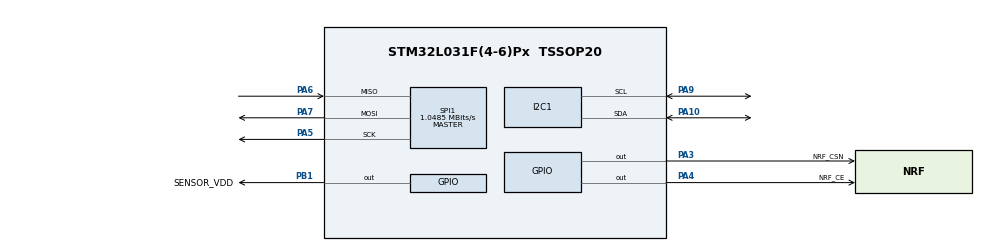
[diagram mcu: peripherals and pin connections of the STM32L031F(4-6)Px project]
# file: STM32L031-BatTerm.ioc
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I2C1.Timing=0x00000608
IWDG.Prescaler=IWDG_PRESCALER_256
Mcu.Family=STM32L0
Mcu.Name=STM32L031F(4-6)Px
Mcu.Package=TSSOP20
NVIC.RTC_IRQn=true\:0\:0\:false\:false\:true\:true\:true\:true
PA10.Mode=I2C
PA10.Signal=I2C1_SDA
PA13.Mode=Serial_Wire
PA13.Signal=SYS_SWDIO
PA14.Mode=Serial_Wire
PA14.Signal=SYS_SWCLK
PA3.GPIO_Label=NRF_CSN
PA3.PinState=GPIO_PIN_SET
PA3.Signal=GPIO_Output
PA4.GPIO_Label=NRF_CE
PA4.PinState=GPIO_PIN_RESET
PA4.Signal=GPIO_Output
PA5.Mode=Full_Duplex_Master
PA5.Signal=SPI1_SCK
PA6.Mode=Full_Duplex_Master
PA6.Signal=SPI1_MISO
PA7.Mode=Full_Duplex_Master
PA7.Signal=SPI1_MOSI
PA9.Mode=I2C
PA9.Signal=I2C1_SCL
PB1.GPIO_Label=SENSOR_VDD
PB1.Signal=GPIO_Output
ProjectManager.HeapSize=0x200
ProjectManager.StackSize=0x400
ProjectManager.TargetToolchain=CMake
RCC.AHBFreq_Value=2097000
RCC.APB1Freq_Value=2097000
RCC.APB1TimFreq_Value=2097000
RCC.APB2Freq_Value=2097000
RCC.APB2TimFreq_Value=2097000
RCC.HSE_VALUE=8000000
RCC.HSI16_VALUE=16000000
RCC.HSI_VALUE=16000000
RCC.I2c1ClockSelection=RCC_I2C1CLKSOURCE_SYSCLK
RCC.LSE_VALUE=32768
RCC.MSI_VALUE=2097000
RCC.SYSCLKFreq_VALUE=2097000
RCC.VCOOutputFreq_Value=48000000
RTC.AsynchPrediv=124
RTC.SynchPrediv=295
RTC.WakeUpClock-WakeUp=RTC_WAKEUPCLOCK_CK_SPRE_16BITS
RTC.WakeUpCounter-WakeUp=599
SPI1.CalculateBaudRate=1.0485 MBits/s
SPI1.Direction=SPI_DIRECTION_2LINES
SPI1.Mode=SPI_MODE_MASTER
SPI1.VirtualType=VM_MASTER
VP_IWDG_VS_IWDG.Mode=IWDG_Activate
VP_RTC_VS_RTC_Activate.Mode=RTC_Enabled
VP_RTC_VS_RTC_Calendar.Mode=RTC_Calendar
VP_RTC_VS_RTC_WakeUp_intern.Mode=WakeUp
board=custom

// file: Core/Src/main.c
/* USER CODE BEGIN Header */
/**
  ******************************************************************************
  * @file           : main.c
  * @brief          : Main program body
  ******************************************************************************
  * @attention
  *
  * Copyright (c) 2026 STMicroelectronics.
  * All rights reserved.
  *
  * This software is licensed under terms that can be found in the LICENSE file
  * in the root directory of this software component.
  * If no LICENSE file comes with this software, it is provided AS-IS.
  *
  ******************************************************************************
  */
/* USER CODE END Header */
#include "main.h"

/* USER CODE BEGIN Includes */
#include "stm32l0xx_ll_pwr.h"
#include "stm32l0xx_ll_exti.h"
#include "stm32l0xx_ll_cortex.h"
#include "SEGGER_RTT.h"
#include "aht20.h"
#include "bmp280.h"
#include "nrf24l01.h"
#include "bsp.h"
/* USER CODE END Includes */

/* USER CODE BEGIN PD */
// #define debug
/* USER CODE END PD */

/* USER CODE BEGIN PM */
#ifdef debug
    #define DEBUG_RTT_Init()                        SEGGER_RTT_Init()
    #define DEBUG_RTT_WriteString(buffer_index, s)  SEGGER_RTT_WriteString(buffer_index, s)
    #define DEBUG_RTT_PutChar(buffer_index, s)      SEGGER_RTT_PutChar(buffer_index, s)
#else
    #define DEBUG_RTT_Init()
    #define DEBUG_RTT_WriteInt(buffer_index, num)
    #define DEBUG_RTT_WriteString(buffer_index, s)
    #define DEBUG_RTT_PutChar(buffer_index, s)
#endif
/* USER CODE END PM */

/* USER CODE BEGIN PV */
volatile uint32_t system_ticks = 0;
/* USER CODE END PV */

void SystemClock_Config(void);
static void MX_GPIO_Init(void);
void MX_I2C1_Init(void);
void MX_SPI1_Init(void);
static void MX_RTC_Init(void);
static void MX_IWDG_Init(void);
/* USER CODE BEGIN PFP */
#ifdef debug
void DEBUG_RTT_WriteInt(uint8_t buffer_index, int num);
#endif
void BSP_LowPowerDelay(uint32_t Delay);
/* USER CODE END PFP */

int main(void)
{

  /* USER CODE BEGIN 1 */
  AHT20_Data_t aht20_data;
  BMP280_Data_t bmp280_data;
  NRF24_Data_t nrf24_data;
  uint32_t wakeup_counter = 0;
  /* USER CODE END 1 */

  /* MCU Configuration--------------------------------------------------------*/

  /* Reset of all peripherals, Initializes the Flash interface and the Systick. */
  LL_APB2_GRP1_EnableClock(LL_APB2_GRP1_PERIPH_SYSCFG);
  LL_APB1_GRP1_EnableClock(LL_APB1_GRP1_PERIPH_PWR);

  /* SysTick_IRQn interrupt configuration */
  NVIC_SetPriority(SysTick_IRQn, 3);

  /* Configure the system clock */
  SystemClock_Config();

  /* USER CODE BEGIN SysInit */
  SysTick->CTRL |= SysTick_CTRL_TICKINT_Msk;
  LL_mDelay(2000); //SWD escape window to prevent bricking
  /* USER CODE END SysInit */

  /* Initialize all configured peripherals */
  MX_GPIO_Init();
  MX_I2C1_Init();
  MX_SPI1_Init();
  MX_RTC_Init();
  MX_IWDG_Init();
  /* USER CODE BEGIN 2 */
  LL_PWR_EnableUltraLowPower();

  #ifdef debug
  DEBUG_RTT_Init();
  DEBUG_RTT_WriteString(0, "RTT initialized.\r\n");
  DEBUG_RTT_WriteString(0, "RCC-CSR: 0x");
  DEBUG_RTT_WriteInt(0, RCC->CSR);
  DEBUG_RTT_PutChar(0, '\n');
  LL_mDelay(1000);
  RCC->CSR |= RCC_CSR_RMVF;
  #endif

  LL_RTC_DisableWriteProtection(RTC);
  LL_RTC_WAKEUP_Disable(RTC);
  WAIT_FLAG(LL_RTC_IsActiveFlag_WUTW(RTC), 10);
  LL_RTC_WAKEUP_SetClock(RTC,LL_RTC_WAKEUPCLOCK_CKSPRE);
  LL_RTC_WAKEUP_SetAutoReload(RTC, 19);
  LL_RTC_EnableIT_WUT(RTC);
  LL_RTC_WAKEUP_Enable(RTC);
  LL_RTC_EnableWriteProtection(RTC);

  LL_EXTI_EnableIT_0_31(LL_EXTI_LINE_20);
  LL_EXTI_EnableRisingTrig_0_31(LL_EXTI_LINE_20);

  BSP_PeriphModeActive();
  NRF24_Init();   DEBUG_RTT_WriteString(0, "NRF Init.\r\n");
  BMP280_GetCoef();  DEBUG_RTT_WriteString(0, "BMP Init.\r\n");
  BSP_PeriphModeSleep();
  /* USER CODE END 2 */

  /* Infinite loop */
  while (1)
  {

    /* USER CODE BEGIN 3 */
    BSP_PeriphModeActive();

    if(!AHT20_GetData(&aht20_data)) {
      DEBUG_RTT_WriteString(0, "AHT20 Error\n");
    }

    if(!BMP280_GetData(&bmp280_data)) {
      DEBUG_RTT_WriteString(0, "BMP280 Error\n");
    }

    nrf24_data.uid         = BSP_GetUID();
    nrf24_data.temperature = aht20_data.temperature;
    nrf24_data.humidity    = aht20_data.humidity;
    nrf24_data.pressure    = bmp280_data.pressure;
    nrf24_data.errors      = BSP_GetErrors();

    NRF24_TransmitData(&nrf24_data, sizeof(nrf24_data));
    BSP_PeriphModeSleep();
    #ifdef debug
    while (SEGGER_RTT_HasDataUp(0) != 0);
    #endif

    wakeup_counter = 0;
    while (wakeup_counter < 30) {

      LL_IWDG_ReloadCounter(IWDG);
      LL_SYSTICK_DisableIT();

      LL_PWR_SetPowerMode(LL_PWR_MODE_STOP);
      LL_PWR_SetRegulModeLP(LL_PWR_REGU_LPMODES_LOW_POWER);
      LL_LPM_EnableDeepSleep();

      __WFI();

      LL_PWR_SetRegulModeLP(LL_PWR_REGU_LPMODES_MAIN);
      LL_SYSTICK_EnableIT();

      if (LL_RTC_IsActiveFlag_WUT(RTC)) {
        LL_RTC_ClearFlag_WUT(RTC);
      }
      LL_EXTI_ClearFlag_0_31(LL_EXTI_LINE_20);

      wakeup_counter++;
    }
  /* USER CODE END 3 */
}
}

void SystemClock_Config(void)
{
  LL_FLASH_SetLatency(LL_FLASH_LATENCY_0);
  while(LL_FLASH_GetLatency()!= LL_FLASH_LATENCY_0)
  {
  }
  LL_PWR_SetRegulVoltageScaling(LL_PWR_REGU_VOLTAGE_SCALE1);
  while (LL_PWR_IsActiveFlag_VOS() != 0)
  {
  }
  LL_RCC_LSI_Enable();

   /* Wait till LSI is ready */
  while(LL_RCC_LSI_IsReady() != 1)
  {

  }
  LL_RCC_MSI_Enable();

   /* Wait till MSI is ready */
  while(LL_RCC_MSI_IsReady() != 1)
  {

  }
  LL_RCC_MSI_SetRange(LL_RCC_MSIRANGE_5);
  LL_RCC_MSI_SetCalibTrimming(0);
  LL_PWR_EnableBkUpAccess();
  if(LL_RCC_GetRTCClockSource() != LL_RCC_RTC_CLKSOURCE_LSI)
  {
    LL_RCC_ForceBackupDomainReset();
    LL_RCC_ReleaseBackupDomainReset();
    LL_RCC_SetRTCClockSource(LL_RCC_RTC_CLKSOURCE_LSI);
  }
  LL_RCC_EnableRTC();
  LL_RCC_SetAHBPrescaler(LL_RCC_SYSCLK_DIV_1);
  LL_RCC_SetAPB1Prescaler(LL_RCC_APB1_DIV_1);
  LL_RCC_SetAPB2Prescaler(LL_RCC_APB2_DIV_1);
  LL_RCC_SetSysClkSource(LL_RCC_SYS_CLKSOURCE_MSI);

   /* Wait till System clock is ready */
  while(LL_RCC_GetSysClkSource() != LL_RCC_SYS_CLKSOURCE_STATUS_MSI)
  {

  }

  LL_Init1msTick(2097000);

  LL_SetSystemCoreClock(2097000);
  LL_RCC_SetI2CClockSource(LL_RCC_I2C1_CLKSOURCE_SYSCLK);
}

void MX_I2C1_Init(void)
{

  LL_I2C_InitTypeDef I2C_InitStruct = {0};

  LL_GPIO_InitTypeDef GPIO_InitStruct = {0};

  LL_IOP_GRP1_EnableClock(LL_IOP_GRP1_PERIPH_GPIOA);
  /**I2C1 GPIO Configuration
  PA9   ------> I2C1_SCL
  PA10   ------> I2C1_SDA
  */
  GPIO_InitStruct.Pin = LL_GPIO_PIN_9;
  GPIO_InitStruct.Mode = LL_GPIO_MODE_ALTERNATE;
  GPIO_InitStruct.Speed = LL_GPIO_SPEED_FREQ_VERY_HIGH;
  GPIO_InitStruct.OutputType = LL_GPIO_OUTPUT_OPENDRAIN;
  GPIO_InitStruct.Pull = LL_GPIO_PULL_NO;
  GPIO_InitStruct.Alternate = LL_GPIO_AF_1;
  LL_GPIO_Init(GPIOA, &GPIO_InitStruct);

  GPIO_InitStruct.Pin = LL_GPIO_PIN_10;
  GPIO_InitStruct.Mode = LL_GPIO_MODE_ALTERNATE;
  GPIO_InitStruct.Speed = LL_GPIO_SPEED_FREQ_VERY_HIGH;
  GPIO_InitStruct.OutputType = LL_GPIO_OUTPUT_OPENDRAIN;
  GPIO_InitStruct.Pull = LL_GPIO_PULL_NO;
  GPIO_InitStruct.Alternate = LL_GPIO_AF_1;
  LL_GPIO_Init(GPIOA, &GPIO_InitStruct);

  /* Peripheral clock enable */
  LL_APB1_GRP1_EnableClock(LL_APB1_GRP1_PERIPH_I2C1);

  /** I2C Initialization
  */
  LL_I2C_EnableAutoEndMode(I2C1);
  LL_I2C_DisableOwnAddress2(I2C1);
  LL_I2C_DisableGeneralCall(I2C1);
  LL_I2C_EnableClockStretching(I2C1);
  I2C_InitStruct.PeripheralMode = LL_I2C_MODE_I2C;
  I2C_InitStruct.Timing = 0x00000608;
  I2C_InitStruct.AnalogFilter = LL_I2C_ANALOGFILTER_ENABLE;
  I2C_InitStruct.DigitalFilter = 0;
  I2C_InitStruct.OwnAddress1 = 0;
  I2C_InitStruct.TypeAcknowledge = LL_I2C_ACK;
  I2C_InitStruct.OwnAddrSize = LL_I2C_OWNADDRESS1_7BIT;
  LL_I2C_Init(I2C1, &I2C_InitStruct);
  LL_I2C_SetOwnAddress2(I2C1, 0, LL_I2C_OWNADDRESS2_NOMASK);

}

static void MX_IWDG_Init(void)
{

  LL_IWDG_Enable(IWDG);
  LL_IWDG_EnableWriteAccess(IWDG);
  LL_IWDG_SetPrescaler(IWDG, LL_IWDG_PRESCALER_256);
  LL_IWDG_SetReloadCounter(IWDG, 4095);
  while (LL_IWDG_IsReady(IWDG) != 1)
  {
  }

  LL_IWDG_ReloadCounter(IWDG);

}

static void MX_RTC_Init(void)
{

  LL_RTC_InitTypeDef RTC_InitStruct = {0};
  LL_RTC_TimeTypeDef RTC_TimeStruct = {0};
  LL_RTC_DateTypeDef RTC_DateStruct = {0};

  /* Peripheral clock enable */
  LL_RCC_EnableRTC();

  /* RTC interrupt Init */
  NVIC_SetPriority(RTC_IRQn, 0);
  NVIC_EnableIRQ(RTC_IRQn);

  /** Initialize RTC and set the Time and Date
  */
  RTC_InitStruct.HourFormat = LL_RTC_HOURFORMAT_24HOUR;
  RTC_InitStruct.AsynchPrescaler = 124;
  RTC_InitStruct.SynchPrescaler = 295;
  LL_RTC_Init(RTC, &RTC_InitStruct);

  /** Initialize RTC and set the Time and Date
  */
  RTC_TimeStruct.Hours = 0;
  RTC_TimeStruct.Minutes = 0;
  RTC_TimeStruct.Seconds = 0;
  LL_RTC_TIME_Init(RTC, LL_RTC_FORMAT_BCD, &RTC_TimeStruct);
  RTC_DateStruct.WeekDay = LL_RTC_WEEKDAY_MONDAY;
  RTC_DateStruct.Month = LL_RTC_MONTH_JANUARY;
  RTC_DateStruct.Day = 0x1;
  RTC_DateStruct.Year = 0;
  LL_RTC_DATE_Init(RTC, LL_RTC_FORMAT_BCD, &RTC_DateStruct);

  /** Initialize RTC and set the Time and Date
  */

  /** Enable the WakeUp
  */
  LL_RTC_WAKEUP_SetClock(RTC, LL_RTC_WAKEUPCLOCK_CKSPRE);

}

void MX_SPI1_Init(void)
{

  LL_SPI_InitTypeDef SPI_InitStruct = {0};

  LL_GPIO_InitTypeDef GPIO_InitStruct = {0};

  /* Peripheral clock enable */
  LL_APB2_GRP1_EnableClock(LL_APB2_GRP1_PERIPH_SPI1);

  LL_IOP_GRP1_EnableClock(LL_IOP_GRP1_PERIPH_GPIOA);
  /**SPI1 GPIO Configuration
  PA5   ------> SPI1_SCK
  PA6   ------> SPI1_MISO
  PA7   ------> SPI1_MOSI
  */
  GPIO_InitStruct.Pin = LL_GPIO_PIN_5;
  GPIO_InitStruct.Mode = LL_GPIO_MODE_ALTERNATE;
  GPIO_InitStruct.Speed = LL_GPIO_SPEED_FREQ_VERY_HIGH;
  GPIO_InitStruct.OutputType = LL_GPIO_OUTPUT_PUSHPULL;
  GPIO_InitStruct.Pull = LL_GPIO_PULL_NO;
  GPIO_InitStruct.Alternate = LL_GPIO_AF_0;
  LL_GPIO_Init(GPIOA, &GPIO_InitStruct);

  GPIO_InitStruct.Pin = LL_GPIO_PIN_6;
  GPIO_InitStruct.Mode = LL_GPIO_MODE_ALTERNATE;
  GPIO_InitStruct.Speed = LL_GPIO_SPEED_FREQ_VERY_HIGH;
  GPIO_InitStruct.OutputType = LL_GPIO_OUTPUT_PUSHPULL;
  GPIO_InitStruct.Pull = LL_GPIO_PULL_NO;
  GPIO_InitStruct.Alternate = LL_GPIO_AF_0;
  LL_GPIO_Init(GPIOA, &GPIO_InitStruct);

  GPIO_InitStruct.Pin = LL_GPIO_PIN_7;
  GPIO_InitStruct.Mode = LL_GPIO_MODE_ALTERNATE;
  GPIO_InitStruct.Speed = LL_GPIO_SPEED_FREQ_VERY_HIGH;
  GPIO_InitStruct.OutputType = LL_GPIO_OUTPUT_PUSHPULL;
  GPIO_InitStruct.Pull = LL_GPIO_PULL_NO;
  GPIO_InitStruct.Alternate = LL_GPIO_AF_0;
  LL_GPIO_Init(GPIOA, &GPIO_InitStruct);

  /* SPI1 parameter configuration*/
  SPI_InitStruct.TransferDirection = LL_SPI_FULL_DUPLEX;
  SPI_InitStruct.Mode = LL_SPI_MODE_MASTER;
  SPI_InitStruct.DataWidth = LL_SPI_DATAWIDTH_8BIT;
  SPI_InitStruct.ClockPolarity = LL_SPI_POLARITY_LOW;
  SPI_InitStruct.ClockPhase = LL_SPI_PHASE_1EDGE;
  SPI_InitStruct.NSS = LL_SPI_NSS_SOFT;
  SPI_InitStruct.BaudRate = LL_SPI_BAUDRATEPRESCALER_DIV2;
  SPI_InitStruct.BitOrder = LL_SPI_MSB_FIRST;
  SPI_InitStruct.CRCCalculation = LL_SPI_CRCCALCULATION_DISABLE;
  SPI_InitStruct.CRCPoly = 7;
  LL_SPI_Init(SPI1, &SPI_InitStruct);
  LL_SPI_SetStandard(SPI1, LL_SPI_PROTOCOL_MOTOROLA);
  /* USER CODE BEGIN SPI1_Init 2 */
  LL_GPIO_SetPinPull(GPIOA, LL_GPIO_PIN_6, LL_GPIO_PULL_DOWN);
  /* USER CODE END SPI1_Init 2 */

}

static void MX_GPIO_Init(void)
{
  LL_GPIO_InitTypeDef GPIO_InitStruct = {0};

  /* GPIO Ports Clock Enable */
  LL_IOP_GRP1_EnableClock(LL_IOP_GRP1_PERIPH_GPIOA);
  LL_IOP_GRP1_EnableClock(LL_IOP_GRP1_PERIPH_GPIOB);

  /**/
  LL_GPIO_SetOutputPin(NRF_CSN_GPIO_Port, NRF_CSN_Pin);

  /**/
  LL_GPIO_ResetOutputPin(NRF_CE_GPIO_Port, NRF_CE_Pin);

  /**/
  LL_GPIO_ResetOutputPin(SENSOR_VDD_GPIO_Port, SENSOR_VDD_Pin);

  /**/
  GPIO_InitStruct.Pin = NRF_CSN_Pin;
  GPIO_InitStruct.Mode = LL_GPIO_MODE_OUTPUT;
  GPIO_InitStruct.Speed = LL_GPIO_SPEED_FREQ_LOW;
  GPIO_InitStruct.OutputType = LL_GPIO_OUTPUT_PUSHPULL;
  GPIO_InitStruct.Pull = LL_GPIO_PULL_NO;
  LL_GPIO_Init(NRF_CSN_GPIO_Port, &GPIO_InitStruct);

  /**/
  GPIO_InitStruct.Pin = NRF_CE_Pin;
  GPIO_InitStruct.Mode = LL_GPIO_MODE_OUTPUT;
  GPIO_InitStruct.Speed = LL_GPIO_SPEED_FREQ_LOW;
  GPIO_InitStruct.OutputType = LL_GPIO_OUTPUT_PUSHPULL;
  GPIO_InitStruct.Pull = LL_GPIO_PULL_NO;
  LL_GPIO_Init(NRF_CE_GPIO_Port, &GPIO_InitStruct);

  /**/
  GPIO_InitStruct.Pin = SENSOR_VDD_Pin;
  GPIO_InitStruct.Mode = LL_GPIO_MODE_OUTPUT;
  GPIO_InitStruct.Speed = LL_GPIO_SPEED_FREQ_LOW;
  GPIO_InitStruct.OutputType = LL_GPIO_OUTPUT_PUSHPULL;
  GPIO_InitStruct.Pull = LL_GPIO_PULL_NO;
  LL_GPIO_Init(SENSOR_VDD_GPIO_Port, &GPIO_InitStruct);

  /* USER CODE BEGIN MX_GPIO_Init_2 */
  LL_GPIO_SetPinMode(GPIOA, LL_GPIO_PIN_0, LL_GPIO_MODE_ANALOG);
  LL_GPIO_SetPinMode(GPIOA, LL_GPIO_PIN_1, LL_GPIO_MODE_ANALOG);
  LL_GPIO_SetPinMode(GPIOA, LL_GPIO_PIN_2, LL_GPIO_MODE_ANALOG);

  LL_GPIO_SetPinMode(GPIOC, LL_GPIO_PIN_14, LL_GPIO_MODE_ANALOG);
  LL_GPIO_SetPinMode(GPIOC, LL_GPIO_PIN_15, LL_GPIO_MODE_ANALOG);
  #ifndef debug
  LL_GPIO_SetPinMode(GPIOA, LL_GPIO_PIN_13, LL_GPIO_MODE_ANALOG);
  LL_GPIO_SetPinMode(GPIOA, LL_GPIO_PIN_14, LL_GPIO_MODE_ANALOG);
  #endif
  /* USER CODE END MX_GPIO_Init_2 */
}

/* USER CODE BEGIN 4 */
#ifdef debug
void DEBUG_RTT_WriteInt(uint8_t buffer_index, int num) {
  if (num == 0) { DEBUG_RTT_PutChar(buffer_index, '0'); return; }
  if (num < 0)  { DEBUG_RTT_PutChar(buffer_index, '-'); num = -num; }
  if (num >= 10){ DEBUG_RTT_WriteInt(buffer_index, num / 10); }
  DEBUG_RTT_PutChar(buffer_index, (num % 10) + '0');
}
#endif

/* USER CODE END 4 */

void Error_Handler(void)
{
  __disable_irq();
  while (1)
  {
  }
}
